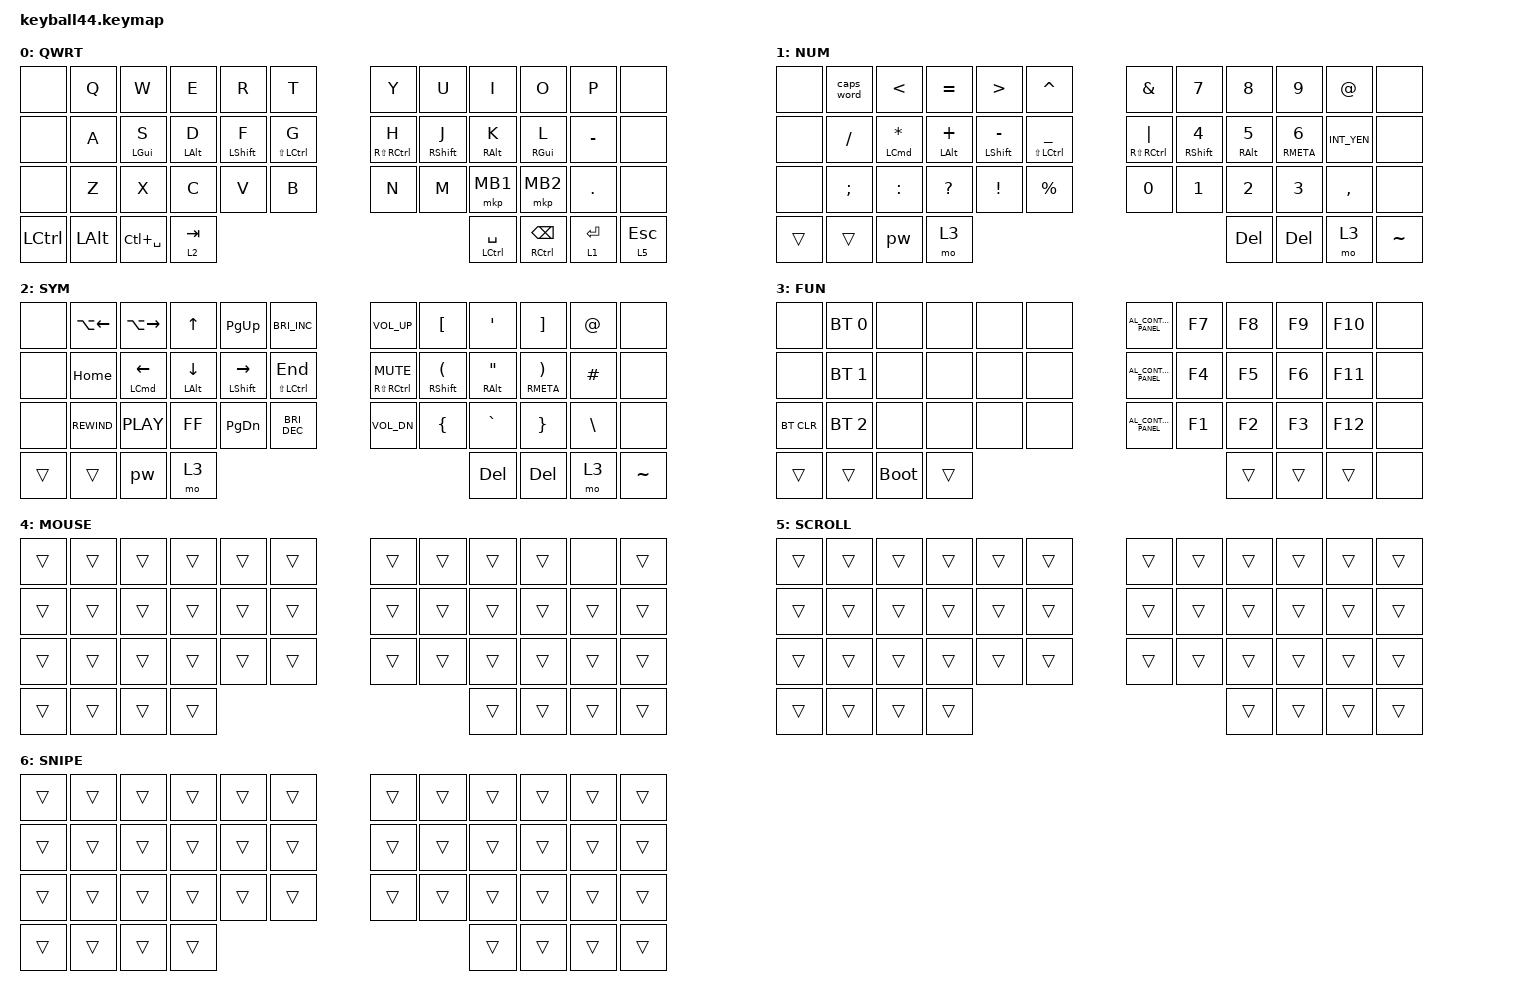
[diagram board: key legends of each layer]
#define DEFAULT 0
#define NUM     1
#define SYM     2
#define FUN     3
#define MOUSE   4
#define SCROLL  5
#define SNIPE   6

#include <behaviors/mouse_keys.dtsi>
#include <dt-bindings/zmk/mouse.h>
#include <behaviors.dtsi>
#include <dt-bindings/zmk/bt.h>
#include <dt-bindings/zmk/keys.h>
#include <dt-bindings/zmk/pointing.h>

&lt {
    tapping-term-ms = <240>;
    flavor = "balanced";
    quick-tap-ms = <150>;
};

&mt {
    tapping-term-ms = <200>;
    flavor = "tap-preferred";
    quick-tap-ms = <150>;
};

&caps_word { continue-list = <UNDERSCORE MINUS>; };

/ {
    // custom shift using mod-morph 

    behaviors {
        cmqus: comma_question {
            compatible = "zmk,behavior-mod-morph";
            label = "COMMA_QUESTION";
            #binding-cells = <0>;
            bindings = <&kp COMMA>, <&kp QUESTION>;

            mods = <(MOD_LSFT|MOD_RSFT)>;
        };

        dtsmi: dot_semi {
            compatible = "zmk,behavior-mod-morph";
            label = "DOT_SEMI";
            #binding-cells = <0>;
            bindings = <&kp DOT>, <&kp SEMI>;

            mods = <(MOD_LSFT|MOD_RSFT)>;
        };

        ctrla: ctrla {
            compatible = "zmk,behavior-tap-dance";
            label = "CTRLA";
            #binding-cells = <0>;
            bindings = <&mt LCTRL A>, <&kp LC(A)>;

            tapping-term-ms = <150>;
        };
    };

    macros {
        pw: pw {
            compatible = "zmk,behavior-macro";
            #binding-cells = <0>;
            bindings = <&none &kp LS(N) &kp T &kp T &kp D &kp A &kp T &kp A &kp N1 &kp EXCL>;
            label = "PW";
        };

        xa: xa {
            compatible = "zmk,behavior-macro";
            #binding-cells = <0>;
            bindings = <&none &kp X &kp A &kp N6 &kp N7 &kp E &kp J &kp Z &kp N2>;
            label = "XA";
        };

        paren: paren {
            compatible = "zmk,behavior-macro";
            #binding-cells = <0>;
            bindings = <&kp LPAR &kp RPAR>;
            label = "PAREN";
        };
    };

    combos {
        compatible = "zmk,combos";

        mb3 {
            bindings = <&mkp MB3>;
            key-positions = <32 33>;
            layers = <0>;
        };

        ctrl-a {
            bindings = <&kp LC(A)>;
            key-positions = <13 14>;
        };

        ctrl-z {
            bindings = <&kp LC(Z)>;
            key-positions = <25 26>;
        };

        paren {
            bindings = <&paren>;
            key-positions = <39 42>;
        };
    };

    keymap {
        compatible = "zmk,keymap";

        default_layer {
            label = "QWRT";
            bindings = <
&none      &kp Q     &kp W           &kp E           &kp R            &kp T                                &kp Y            &kp U         &kp I            &kp O            &kp P      &none
&none      &kp A     &mt LEFT_GUI S  &mt LEFT_ALT D  &mt LSHIFT F     &mt LS(LCTRL) G                      &mt RS(RCTRL) H  &mt RSHIFT J  &mt RIGHT_ALT K  &mt RIGHT_GUI L  &kp MINUS  &none
&none      &kp Z     &kp X           &kp C           &kp V            &kp B                                &kp N            &kp M         &mkp MB1         &mkp MB2         &kp DOT    &none
&kp LCTRL  &kp LALT  &kp LC(SPACE)   &lt 2 TAB       &mt LCTRL SPACE                       &mt RCTRL BSPC  &lt 1 ENTER                                                                 &lt 5 ESCAPE
            >;
        };

        number_layer {
            label = "NUM";
            bindings = <
&none   &caps_word  &kp LESS_THAN   &kp EQUAL          &kp GREATER_THAN  &kp CARET                            &kp AMPS            &kp N7               &kp N8            &kp N9              &kp AT       &none
&none   &kp SLASH   &mt LCMD ASTRK  &mt LEFT_ALT PLUS  &mt LSHIFT MINUS  &mt LS(LCTRL) UNDER                  &mt RS(RCTRL) PIPE  &mt RSHIFT NUMBER_4  &mt RIGHT_ALT N5  &mt RMETA NUMBER_6  &kp INT_YEN  &none
&none   &kp SEMI    &kp COLON       &kp QUESTION       &kp EXCL          &kp PERCENT                          &kp N0              &kp NUMBER_1         &kp NUMBER_2      &kp NUMBER_3        &kp COMMA    &none
&trans  &trans      &pw             &mo 3              &kp DEL                                    &kp DELETE  &mo 3                                                                                       &kp TILDE
            >;
        };

        symbol_layer {
            label = "SYM";
            bindings = <
&none   &kp LA(LEFT)  &kp LA(RIGHT)  &kp UP_ARROW       &kp PG_UP         &kp C_BRIGHTNESS_INC                  &kp C_VOLUME_UP       &kp LEFT_BRACKET             &kp SINGLE_QUOTE             &kp RIGHT_BRACKET            &kp AT         &none
&none   &kp HOME      &mt LCMD LEFT  &mt LEFT_ALT DOWN  &mt LSHIFT RIGHT  &mt LS(LCTRL) END                     &mt RS(RCTRL) C_MUTE  &mt RSHIFT LEFT_PARENTHESIS  &mt RIGHT_ALT DOUBLE_QUOTES  &mt RMETA RIGHT_PARENTHESIS  &kp HASH       &none
&none   &kp C_REWIND  &kp C_PLAY     &kp C_FF           &kp PAGE_DOWN     &kp C_BRIGHTNESS_DEC                  &kp C_VOL_DN          &kp LEFT_BRACE               &kp GRAVE                    &kp RIGHT_BRACE              &kp BACKSLASH  &none
&trans  &trans        &pw            &mo 3              &kp DELETE                                  &kp DELETE  &mo 3                                                                                                                       &kp TILDE
            >;
        };

        function_layer {
            label = "FUN";
            bindings = <
&none       &bt BT_SEL 0  &none        &none   &none   &none              &kp C_AL_CONTROL_PANEL  &kp F7  &kp F8  &kp F9  &kp F10  &none
&none       &bt BT_SEL 1  &none        &none   &none   &none              &kp C_AL_CONTROL_PANEL  &kp F4  &kp F5  &kp F6  &kp F11  &none
&bt BT_CLR  &bt BT_SEL 2  &none        &none   &none   &none              &kp C_AL_CONTROL_PANEL  &kp F1  &kp F2  &kp F3  &kp F12  &none
&trans      &trans        &bootloader  &trans  &trans             &trans  &trans                                                   &none
            >;
        };

        mouse_layer {
            label = "MOUSE";
            bindings = <
&trans  &trans  &trans  &trans  &trans  &trans              &trans  &trans  &trans  &trans  &none   &trans
&trans  &trans  &trans  &trans  &trans  &trans              &trans  &trans  &trans  &trans  &trans  &trans
&trans  &trans  &trans  &trans  &trans  &trans              &trans  &trans  &trans  &trans  &trans  &trans
&trans  &trans  &trans  &trans  &trans              &trans  &trans                                  &trans
            >;
        };

        scroll_layer {
            label = "SCROLL";
            bindings = <
&trans  &trans  &trans  &trans  &trans  &trans              &trans  &trans  &trans  &trans  &trans  &trans
&trans  &trans  &trans  &trans  &trans  &trans              &trans  &trans  &trans  &trans  &trans  &trans
&trans  &trans  &trans  &trans  &trans  &trans              &trans  &trans  &trans  &trans  &trans  &trans
&trans  &trans  &trans  &trans  &trans              &trans  &trans                                  &trans
            >;
        };

        snipe_layer {
            label = "SNIPE";
            bindings = <
&trans  &trans  &trans  &trans  &trans  &trans              &trans  &trans  &trans  &trans  &trans  &trans
&trans  &trans  &trans  &trans  &trans  &trans              &trans  &trans  &trans  &trans  &trans  &trans
&trans  &trans  &trans  &trans  &trans  &trans              &trans  &trans  &trans  &trans  &trans  &trans
&trans  &trans  &trans  &trans  &trans              &trans  &trans                                  &trans
            >;
        };
    };

    conditional_layers { compatible = "zmk,conditional-layers"; };
};
